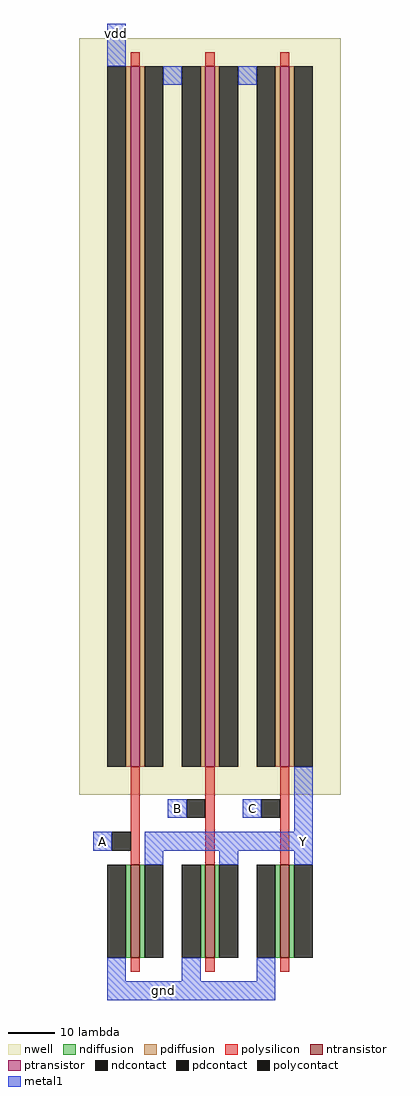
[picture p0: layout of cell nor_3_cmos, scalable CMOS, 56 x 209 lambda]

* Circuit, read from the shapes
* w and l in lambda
.subckt nor_3_cmos A B C Y gnd vdd
M1 Y A gnd VSUBS nfet w=20 l=2
M2 Y B gnd VSUBS nfet w=20 l=2
M3 Y C gnd VSUBS nfet w=20 l=2
M4 n1 A vdd n2 pfet w=150 l=2
M5 n3 B n1 n2 pfet w=150 l=2
M6 Y C n3 n2 pfet w=150 l=2
.ends

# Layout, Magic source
magic
tech scmos
<< nwell >>
rect -6 -6 50 156
<< ntransistor >>
rect 5 -41 7 -21
rect 21 -41 23 -21
rect 37 -41 39 -21
<< ptransistor >>
rect 5 0 7 150
rect 21 0 23 150
rect 37 0 39 150
<< ndiffusion >>
rect 4 -41 5 -21
rect 7 -41 8 -21
rect 20 -41 21 -21
rect 23 -41 24 -21
rect 36 -41 37 -21
rect 39 -41 40 -21
<< pdiffusion >>
rect 4 0 5 150
rect 7 0 8 150
rect 20 0 21 150
rect 23 0 24 150
rect 36 0 37 150
rect 39 0 40 150
<< ndcontact >>
rect 0 -41 4 -21
rect 8 -41 12 -21
rect 16 -41 20 -21
rect 24 -41 28 -21
rect 32 -41 36 -21
rect 40 -41 44 -21
<< pdcontact >>
rect 0 0 4 150
rect 8 0 12 150
rect 16 0 20 150
rect 24 0 28 150
rect 32 0 36 150
rect 40 0 44 150
<< polysilicon >>
rect 5 150 7 153
rect 21 150 23 153
rect 37 150 39 153
rect 5 -21 7 0
rect 21 -21 23 0
rect 37 -21 39 0
rect 5 -44 7 -41
rect 21 -44 23 -41
rect 37 -44 39 -41
<< polycontact >>
rect 1 -18 5 -14
rect 17 -11 21 -7
rect 33 -11 37 -7
<< metal1 >>
rect 0 150 4 159
rect 12 146 16 150
rect 28 146 32 150
rect 13 -11 17 -7
rect 29 -11 33 -7
rect 40 -14 44 0
rect -3 -18 1 -14
rect 8 -18 44 -14
rect 8 -21 12 -18
rect 24 -21 28 -18
rect 40 -21 44 -18
rect 0 -46 4 -41
rect 16 -46 20 -41
rect 32 -46 36 -41
rect 0 -50 36 -46
<< labels >>
rlabel metal1 10 -50 14 -46 1 gnd
rlabel metal1 -3 -18 1 -14 3 A
rlabel metal1 13 -11 17 -7 1 B
rlabel metal1 29 -11 33 -7 1 C
rlabel metal1 40 -18 44 -14 1 Y
rlabel metal1 0 155 4 159 5 vdd
<< end >>
